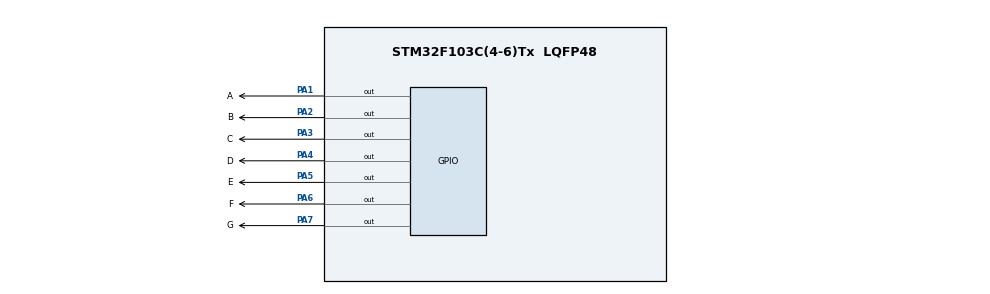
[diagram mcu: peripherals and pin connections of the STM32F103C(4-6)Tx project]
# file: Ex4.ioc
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Mcu.Family=STM32F1
Mcu.Name=STM32F103C(4-6)Tx
Mcu.Package=LQFP48
NVIC.PriorityGroup=NVIC_PRIORITYGROUP_4
PA1.GPIO_Label=A
PA1.Signal=GPIO_Output
PA2.GPIO_Label=B
PA2.Signal=GPIO_Output
PA3.GPIO_Label=C
PA3.Signal=GPIO_Output
PA4.GPIO_Label=D
PA4.Signal=GPIO_Output
PA5.GPIO_Label=E
PA5.Signal=GPIO_Output
PA6.GPIO_Label=F
PA6.Signal=GPIO_Output
PA7.GPIO_Label=G
PA7.Signal=GPIO_Output
ProjectManager.HeapSize=0x200
ProjectManager.StackSize=0x400
ProjectManager.TargetToolchain=STM32CubeIDE
RCC.APB1Freq_Value=8000000
RCC.APB2Freq_Value=8000000
VP_SYS_VS_ND.Mode=No_Debug
board=custom

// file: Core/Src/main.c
/* USER CODE BEGIN Header */
/**
  ******************************************************************************
  * @file           : main.c
  * @brief          : Main program body
  ******************************************************************************
  * @attention
  *
  * <h2><center>&copy; Copyright (c) 2025 STMicroelectronics.
  * All rights reserved.</center></h2>
  *
  * This software component is licensed by ST under BSD 3-Clause license,
  * the "License"; You may not use this file except in compliance with the
  * License. You may obtain a copy of the License at:
  *                        opensource.org/licenses/BSD-3-Clause
  *
  ******************************************************************************
  */
/* USER CODE END Header */
#include "main.h"

/* USER CODE BEGIN PV */
uint16_t led_state[10] = {
		  0b1000000, // 0 = a b c d e f
		  0b1111001, // 1 = b c
		  0b0100100, // 2 = a b d e g
		  0b0110000, // 3 = a b c d g
		  0b0011001, // 4 = b c f g
		  0b0010010, // 5 = a c d f g
		  0b0000010, // 6 = a c d e f g
		  0b1111000, // 7 = a b c
		  0b0000000, // 8 = a b c d e f g
		  0b0010000  // 9 = a b c d f g
};

int count;
/* USER CODE END PV */

void SystemClock_Config(void);
static void MX_GPIO_Init(void);

/* USER CODE BEGIN 0 */
void Display( int num)
{
	HAL_GPIO_WritePin(GPIOA, A_Pin, (led_state[num] & 0x01) ? SET:RESET);
	HAL_GPIO_WritePin(GPIOA, B_Pin, (led_state[num] & 0x02) ? SET:RESET);
	HAL_GPIO_WritePin(GPIOA, C_Pin, (led_state[num] & 0x04) ? SET:RESET);
	HAL_GPIO_WritePin(GPIOA, D_Pin, (led_state[num] & 0x08) ? SET:RESET);
	HAL_GPIO_WritePin(GPIOA, E_Pin, (led_state[num] & 0x10) ? SET:RESET);
	HAL_GPIO_WritePin(GPIOA, F_Pin, (led_state[num] & 0x20) ? SET:RESET);
	HAL_GPIO_WritePin(GPIOA, G_Pin, (led_state[num] & 0x40) ? SET:RESET);

}
/* USER CODE END 0 */

int main(void)
{

  /* MCU Configuration--------------------------------------------------------*/

  /* Reset of all peripherals, Initializes the Flash interface and the Systick. */
  HAL_Init();

  /* Configure the system clock */
  SystemClock_Config();

  /* Initialize all configured peripherals */
  MX_GPIO_Init();

  /* Infinite loop */
  /* USER CODE BEGIN WHILE */
   count = 0;
  while (1)
  {
	Display(count);
    HAL_Delay(1000);
    ++count;
    if(count > 9 ) count = 0;
    /* USER CODE END WHILE */

  }
}

void SystemClock_Config(void)
{
  RCC_OscInitTypeDef RCC_OscInitStruct = {0};
  RCC_ClkInitTypeDef RCC_ClkInitStruct = {0};

  /** Initializes the RCC Oscillators according to the specified parameters
  * in the RCC_OscInitTypeDef structure.
  */
  RCC_OscInitStruct.OscillatorType = RCC_OSCILLATORTYPE_HSI;
  RCC_OscInitStruct.HSIState = RCC_HSI_ON;
  RCC_OscInitStruct.HSICalibrationValue = RCC_HSICALIBRATION_DEFAULT;
  RCC_OscInitStruct.PLL.PLLState = RCC_PLL_NONE;
  if (HAL_RCC_OscConfig(&RCC_OscInitStruct) != HAL_OK)
  {
    Error_Handler();
  }
  /** Initializes the CPU, AHB and APB buses clocks
  */
  RCC_ClkInitStruct.ClockType = RCC_CLOCKTYPE_HCLK|RCC_CLOCKTYPE_SYSCLK
                              |RCC_CLOCKTYPE_PCLK1|RCC_CLOCKTYPE_PCLK2;
  RCC_ClkInitStruct.SYSCLKSource = RCC_SYSCLKSOURCE_HSI;
  RCC_ClkInitStruct.AHBCLKDivider = RCC_SYSCLK_DIV1;
  RCC_ClkInitStruct.APB1CLKDivider = RCC_HCLK_DIV1;
  RCC_ClkInitStruct.APB2CLKDivider = RCC_HCLK_DIV1;

  if (HAL_RCC_ClockConfig(&RCC_ClkInitStruct, FLASH_LATENCY_0) != HAL_OK)
  {
    Error_Handler();
  }
}

static void MX_GPIO_Init(void)
{
  GPIO_InitTypeDef GPIO_InitStruct = {0};

  /* GPIO Ports Clock Enable */
  __HAL_RCC_GPIOA_CLK_ENABLE();

  /*Configure GPIO pin Output Level */
  HAL_GPIO_WritePin(GPIOA, A_Pin|B_Pin|C_Pin|D_Pin
                          |E_Pin|F_Pin|G_Pin, GPIO_PIN_RESET);

  /*Configure GPIO pins : A_Pin B_Pin C_Pin D_Pin
                           E_Pin F_Pin G_Pin */
  GPIO_InitStruct.Pin = A_Pin|B_Pin|C_Pin|D_Pin
                          |E_Pin|F_Pin|G_Pin;
  GPIO_InitStruct.Mode = GPIO_MODE_OUTPUT_PP;
  GPIO_InitStruct.Pull = GPIO_NOPULL;
  GPIO_InitStruct.Speed = GPIO_SPEED_FREQ_LOW;
  HAL_GPIO_Init(GPIOA, &GPIO_InitStruct);

}

void Error_Handler(void)
{
  __disable_irq();
  while (1)
  {
  }
}

/************************ (C) COPYRIGHT STMicroelectronics *****END OF FILE****/
